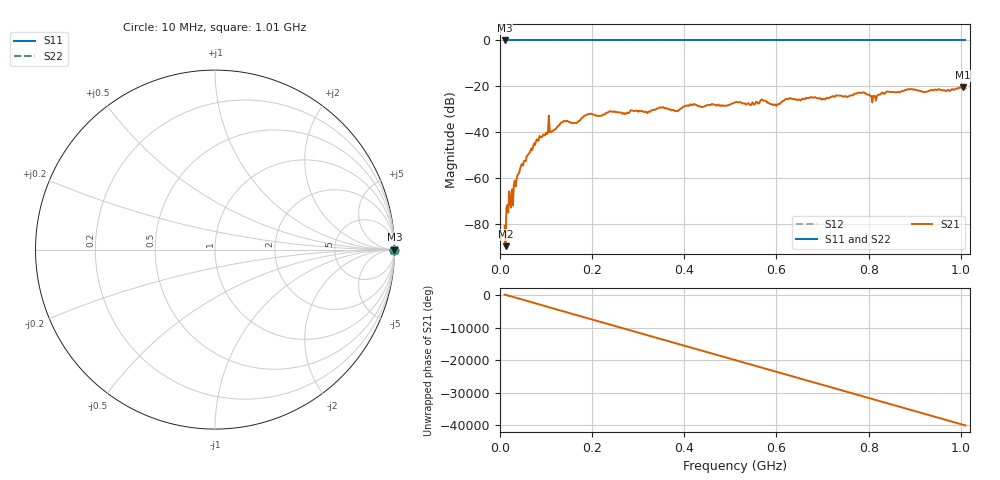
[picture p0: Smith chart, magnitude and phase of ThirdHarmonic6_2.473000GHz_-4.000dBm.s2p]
! 8/17/2025 4:33:41 AM
! C:\ANRITSUVNA\TEMP\TEMP.S2P
! CHANNEL.1
! TR.MEASUREMENT
! RAW.DATA
! RF.CORRECTION.OFF
! AVERAGING.OFF
! IF.BANDWIDTH: 5KHZ
! SWEEPTYPE:  FREQ.SWEEP(Linear)
! Reference Plane Port Info
! PORT:  PORT1  PORT2
! DISTANCE:  0  m  0  m
! TIME:  0  s  0  s
! PHASE.OFFSET:  0  deg.  0  deg.
! LOSS:  0  dB  0  dB
! REF.LOSS:  0  dB  0  dB
! REF.FREQ:  0  Hz  0  Hz
! Power Info
! POWER:  -20  dBm  -20  dBm
! EFF.POWER:  -20  dBm  -20  dBm
! SOURCE.ATTEN:  0  dB  0  dB
! TEST.ATTEN:  0  dB  0  dB
# GHZ S RI R 50.0
! FREQ.GHZ  S11RE  S11IM  S21RE  S21IM  S12RE  S12IM  S22RE  S22IM
!; PortSelection: Port_12
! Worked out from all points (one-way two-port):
!   501 points, 10 MHz to 1.01 GHz, reference 50 ohm
!   highest |S21| = -20.41 dB at 1.004 GHz (marker M1); lowest = -89.8 dB at 12 MHz (marker M2)
!   lowest |S11| = 0.0 dB at 10 MHz (marker M3)
!   |S11| at or under -10 dB: nowhere
!   |S22| runs from 0.0 to 0.0 dB; largest |S21 - S12| = 1.1
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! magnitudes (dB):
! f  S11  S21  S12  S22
! 10 MHz  0.0  -80.8  0.0  0.0
! 12 MHz  0.0  -89.8  0.0  0.0
! 18 MHz  0.0  -75.1  0.0  0.0
! 26 MHz  0.0  -64.9  0.0  0.0
! 42 MHz  0.0  -57.4  0.0  0.0
! 82 MHz  0.0  -43.8  0.0  0.0
! 136 MHz  0.0  -35.6  0.0  0.0
! 164 MHz  0.0  -36.0  0.0  0.0
! 178 MHz  0.0  -33.8  0.0  0.0
! 344 MHz  0.0  -29.6  0.0  0.0
! 384 MHz  0.0  -30.7  0.0  0.0
! 416 MHz  0.0  -28.2  0.0  0.0
! 510 MHz  0.0  -27.1  0.0  0.0
! 570 MHz  0.0  -26.0  0.0  0.0
! 596 MHz  0.0  -27.9  0.0  0.0
! 624 MHz  0.0  -25.6  0.0  0.0
! 678 MHz  0.0  -25.0  0.0  0.0
! 786 MHz  0.0  -22.8  0.0  0.0
! 812 MHz  0.0  -24.3  0.0  0.0
! 844 MHz  0.0  -22.4  0.0  0.0
! 1.004 GHz  0.0  -20.4  0.0  0.0
! 1.01 GHz  0.0  -20.9  0.0  0.0
